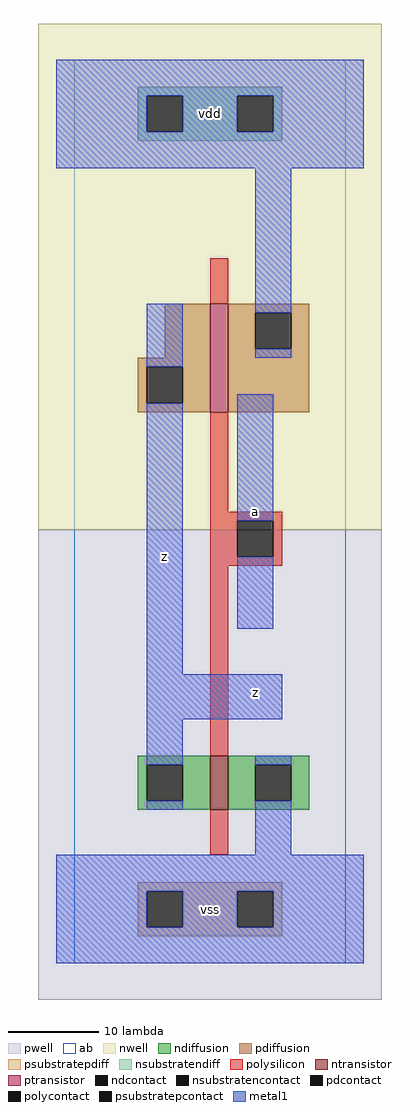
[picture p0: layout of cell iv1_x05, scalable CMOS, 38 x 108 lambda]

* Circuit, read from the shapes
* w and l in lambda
.subckt iv1_x05 a vdd vss z
M1 vss a z vss nfet w=6 l=2
M2 vdd a z vdd pfet w=12 l=2
.ends

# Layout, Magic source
magic
tech scmos
<< ab >>
rect 0 0 30 100
<< pwell >>
rect -4 -4 34 48
<< nwell >>
rect -4 48 34 104
<< polysilicon >>
rect 15 73 17 78
rect 15 50 17 61
rect 15 49 23 50
rect 15 45 18 49
rect 22 45 23 49
rect 15 44 23 45
rect 15 23 17 44
rect 15 12 17 17
<< ndiffusion >>
rect 7 22 15 23
rect 7 18 8 22
rect 12 18 15 22
rect 7 17 15 18
rect 17 22 26 23
rect 17 18 20 22
rect 24 18 26 22
rect 17 17 26 18
<< pdiffusion >>
rect 10 67 15 73
rect 7 66 15 67
rect 7 62 8 66
rect 12 62 15 66
rect 7 61 15 62
rect 17 72 26 73
rect 17 68 20 72
rect 24 68 26 72
rect 17 61 26 68
<< metal1 >>
rect -2 96 32 100
rect -2 92 8 96
rect 12 92 18 96
rect 22 92 32 96
rect -2 88 32 92
rect 8 66 12 73
rect 20 72 24 88
rect 20 67 24 68
rect 8 32 12 62
rect 18 49 22 63
rect 18 37 22 45
rect 8 27 23 32
rect 8 22 12 27
rect 8 17 12 18
rect 20 22 24 23
rect 20 12 24 18
rect -2 8 32 12
rect -2 4 8 8
rect 12 4 18 8
rect 22 4 32 8
rect -2 0 32 4
<< ntransistor >>
rect 15 17 17 23
<< ptransistor >>
rect 15 61 17 73
<< polycontact >>
rect 18 45 22 49
<< ndcontact >>
rect 8 18 12 22
rect 20 18 24 22
<< pdcontact >>
rect 8 62 12 66
rect 20 68 24 72
<< psubstratepcontact >>
rect 8 4 12 8
rect 18 4 22 8
<< nsubstratencontact >>
rect 8 92 12 96
rect 18 92 22 96
<< psubstratepdiff >>
rect 7 8 23 9
rect 7 4 8 8
rect 12 4 18 8
rect 22 4 23 8
rect 7 3 23 4
<< nsubstratendiff >>
rect 7 96 23 97
rect 7 92 8 96
rect 12 92 18 96
rect 22 92 23 96
rect 7 91 23 92
<< labels >>
rlabel metal1 10 45 10 45 6 z
rlabel metal1 15 6 15 6 6 vss
rlabel metal1 20 30 20 30 6 z
rlabel metal1 20 50 20 50 6 a
rlabel metal1 15 94 15 94 6 vdd
<< end >>
